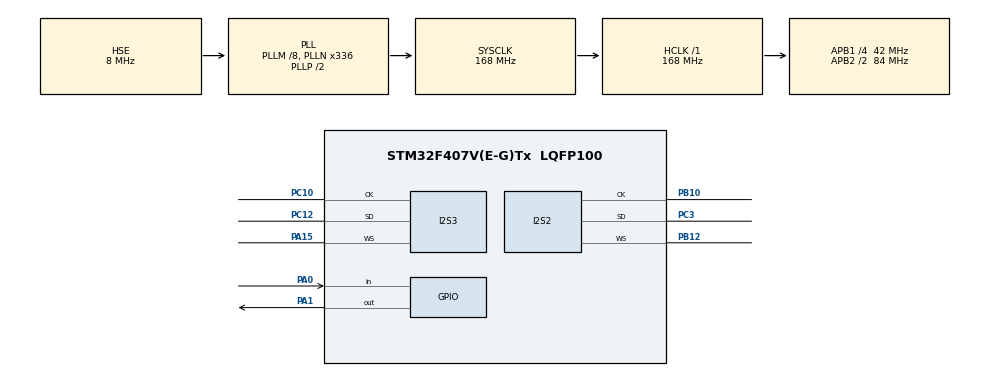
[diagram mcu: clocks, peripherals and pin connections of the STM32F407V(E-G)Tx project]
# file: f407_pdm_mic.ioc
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Dma.Request0=SPI3_TX
Dma.Request1=SPI2_RX
Dma.SPI2_RX.1.Direction=DMA_PERIPH_TO_MEMORY
Dma.SPI2_RX.1.FIFOMode=DMA_FIFOMODE_DISABLE
Dma.SPI2_RX.1.Instance=DMA1_Stream3
Dma.SPI2_RX.1.MemDataAlignment=DMA_MDATAALIGN_HALFWORD
Dma.SPI2_RX.1.MemInc=DMA_MINC_ENABLE
Dma.SPI2_RX.1.Mode=DMA_CIRCULAR
Dma.SPI2_RX.1.PeriphDataAlignment=DMA_PDATAALIGN_HALFWORD
Dma.SPI2_RX.1.PeriphInc=DMA_PINC_DISABLE
Dma.SPI2_RX.1.Priority=DMA_PRIORITY_LOW
Dma.SPI3_TX.0.Direction=DMA_MEMORY_TO_PERIPH
Dma.SPI3_TX.0.FIFOMode=DMA_FIFOMODE_DISABLE
Dma.SPI3_TX.0.Instance=DMA1_Stream5
Dma.SPI3_TX.0.MemDataAlignment=DMA_MDATAALIGN_HALFWORD
Dma.SPI3_TX.0.MemInc=DMA_MINC_ENABLE
Dma.SPI3_TX.0.Mode=DMA_CIRCULAR
Dma.SPI3_TX.0.PeriphDataAlignment=DMA_PDATAALIGN_HALFWORD
Dma.SPI3_TX.0.PeriphInc=DMA_PINC_DISABLE
Dma.SPI3_TX.0.Priority=DMA_PRIORITY_LOW
I2S2.AudioFreq=I2S_AUDIOFREQ_48K
I2S2.DataFormat=I2S_DATAFORMAT_24B
I2S2.ErrorAudioFreq=0.8 %
I2S2.FullDuplexMode=I2S_FULLDUPLEXMODE_DISABLE
I2S2.Instance=SPI$Index
I2S2.Mode=I2S_MODE_SLAVE_RX
I2S2.RealAudioFreq=48.387 KHz
I2S2.Standard=I2S_STANDARD_PHILIPS
I2S2.VirtualMode=I2S_MODE_SLAVE
I2S3.AudioFreq=I2S_AUDIOFREQ_48K
I2S3.DataFormat=I2S_DATAFORMAT_24B
I2S3.ErrorAudioFreq=0.8 %
I2S3.FullDuplexMode=I2S_FULLDUPLEXMODE_DISABLE
I2S3.Instance=SPI$Index
I2S3.RealAudioFreq=48.387 KHz
I2S3.VirtualMode=I2S_MODE_MASTER
Mcu.Family=STM32F4
Mcu.Name=STM32F407V(E-G)Tx
Mcu.Package=LQFP100
NVIC.DMA1_Stream3_IRQn=true\:0\:0\:false\:false\:true\:false\:true
NVIC.DMA1_Stream5_IRQn=true\:0\:0\:false\:false\:true\:false\:true
NVIC.PriorityGroup=NVIC_PRIORITYGROUP_4
PA0-WKUP.GPIO_PuPd=GPIO_PULLDOWN
PA0-WKUP.Signal=GPIO_Input
PA1.PinState=GPIO_PIN_SET
PA1.Signal=GPIO_Output
PA13.Mode=Serial_Wire
PA13.Signal=SYS_JTMS-SWDIO
PA14.Mode=Serial_Wire
PA14.Signal=SYS_JTCK-SWCLK
PA15.Mode=Half_Duplex_Master
PA15.Signal=I2S3_WS
PB10.Mode=Half_Duplex_Slave
PB10.Signal=I2S2_CK
PB12.Mode=Half_Duplex_Slave
PB12.Signal=I2S2_WS
PC10.Mode=Half_Duplex_Master
PC10.Signal=I2S3_CK
PC12.Mode=Half_Duplex_Master
PC12.Signal=I2S3_SD
PC3.Mode=Half_Duplex_Slave
PC3.Signal=I2S2_SD
PDM2PCM.CHANNEL1_bit_order=PDM_FILTER_BIT_ORDER_MSB
PDM2PCM.CHANNEL1_in_ptr_channels=1
PDM2PCM.CHANNEL1_out_ptr_channels=1
PDM2PCM.CHANNEL1_output_samples_number=48
PDM2PCM.CHANNEL2_bit_order=PDM_FILTER_BIT_ORDER_MSB
PDM2PCM.CHANNEL2_in_ptr_channels=2
PDM2PCM.CHANNEL2_out_ptr_channels=2
PH0-OSC_IN.Mode=HSE-External-Oscillator
PH0-OSC_IN.Signal=RCC_OSC_IN
PH1-OSC_OUT.Mode=HSE-External-Oscillator
PH1-OSC_OUT.Signal=RCC_OSC_OUT
ProjectManager.HeapSize=0x200
ProjectManager.StackSize=0x400
ProjectManager.TargetToolchain=STM32CubeIDE
RCC.48MHZClocksFreq_Value=84000000
RCC.AHBFreq_Value=168000000
RCC.APB1CLKDivider=RCC_HCLK_DIV4
RCC.APB1Freq_Value=42000000
RCC.APB1TimFreq_Value=84000000
RCC.APB2CLKDivider=RCC_HCLK_DIV2
RCC.APB2Freq_Value=84000000
RCC.APB2TimFreq_Value=168000000
RCC.CortexFreq_Value=168000000
RCC.HCLKFreq_Value=168000000
RCC.HSE_VALUE=8000000
RCC.HSI_VALUE=16000000
RCC.LSE_VALUE=32768
RCC.PLLM=8
RCC.PLLN=336
RCC.PLLSourceVirtual=RCC_PLLSOURCE_HSE
RCC.SYSCLKFreq_VALUE=168000000
RCC.SYSCLKSource=RCC_SYSCLKSOURCE_PLLCLK
RCC.VCOOutputFreq_Value=336000000
VP_CRC_VS_CRC.Mode=CRC_Activate
VP_PDM2PCM_VS_PDM2PCM.Mode=PDM2PCM_Channel
board=custom

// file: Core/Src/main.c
/* USER CODE BEGIN Header */
// DevEBox STM32F407VGT6 dev board
// Demonstrates reception of PDM data from a MP45DT02 PDM microphone via I2S2,
// conversion to PCM data and transmission over I2S3 to an I2S class D amplifier and speaker
// I2S2 is configured as timing slave to I2S3 ( BCK and WS taken from I2S3 )
// I2S3 configured as master transmit 24bit in 32bit frame, Fs = 48khz.
// PDM clock frequency = BCK = 64*48 = 3.072MHz
// Incoming DMA stream PDM data is converted to PCM using the
// PDM2PCM library. The PCM data is transmitted using DMA to I2S3 to a MAX98357A I2S
// power amplifier and speaker. A FIFO is used between the filter PCM output and
// the transmit as I2S2 and I2S3 are enabled at different times.
/* USER CODE END Header */

#include "main.h"
#include "pdm2pcm.h"

CRC_HandleTypeDef hcrc;

I2S_HandleTypeDef hi2s2;
I2S_HandleTypeDef hi2s3;
DMA_HandleTypeDef hdma_spi2_rx;
DMA_HandleTypeDef hdma_spi3_tx;

void SystemClock_Config(void);
static void MX_GPIO_Init(void);
static void MX_DMA_Init(void);
static void MX_CRC_Init(void);
static void MX_I2S2_Init(void);
static void MX_I2S3_Init(void);

/* USER CODE BEGIN 0 */

#define OUT_FS_KHZ  		48
#define DECIMATION_FACTOR	64

#define PDM2PCM_OUT_SAMPLES 		OUT_FS_KHZ
#define PDM2PCM_IN_SAMPLES_BYTES	(OUT_FS_KHZ*DECIMATION_FACTOR/8)
#define PDM2PCM_IN_SAMPLES_HWORDS   (PDM2PCM_IN_SAMPLES_BYTES/2)

#define RXBUF_NSAMPLES (PDM2PCM_IN_SAMPLES_HWORDS * 2)
#define TXBUF_NSAMPLES (PDM2PCM_OUT_SAMPLES*4*2)

uint16_t PDMRxBuf[RXBUF_NSAMPLES] = {0};
// PDM2PCM library generates PDM2PCM_OUT_SAMPLES for each call
uint16_t PCMBuf[PDM2PCM_OUT_SAMPLES];
uint16_t I2STxBuf[TXBUF_NSAMPLES] = {0};

// dma completion state
enum DmaState {DMA_IN_PROGRESS, DMA_HALF_COMPLETE, DMA_COMPLETE};
enum DmaState RxState = DMA_IN_PROGRESS;
enum DmaState TxState = DMA_IN_PROGRESS;

// 256 entry FIFO and uint8_t  pointers to allow automatic rollover to 0
uint16_t FIFOBuf[256];
uint8_t FIFOwPtr = 0;
uint8_t FIFOrPtr = 0;

// flag to start reading out from the FIFO when enough data is buffered
int FIFOReadEnabled = 0;

void FifoWrite(uint16_t data) {
	FIFOBuf[FIFOwPtr] = data;
	FIFOwPtr++;
	}

uint16_t FifoRead() {
	uint16_t val = FIFOBuf[FIFOrPtr];
	FIFOrPtr++;
	return val;
	}

/* USER CODE END 0 */

int main(void)
{

  /* MCU Configuration--------------------------------------------------------*/

  /* Reset of all peripherals, Initializes the Flash interface and the Systick. */
  HAL_Init();

  /* Configure the system clock */
  SystemClock_Config();

  /* Initialize all configured peripherals */
  MX_GPIO_Init();
  MX_DMA_Init();
  MX_CRC_Init();
  MX_I2S2_Init();
  MX_I2S3_Init();
  MX_PDM2PCM_Init();
  /* USER CODE BEGIN 2 */

  // The I2S peripherals internally transfer data in 16bit chunks, so the rx and tx buffers need
  // to be half-word buffers.
  // we've configured I2S2 for 24bit data in 32bit frame, HAL API requires us to request the
  // number of words, and transfers twice that number of half-words
  HAL_I2S_Transmit_DMA(&hi2s3, I2STxBuf, TXBUF_NSAMPLES/2);

  // I2S2 is a timing slave (BCK and WS from IS3) so needs to start up after I2S3
  HAL_I2S_Receive_DMA(&hi2s2, PDMRxBuf, RXBUF_NSAMPLES/2);

  /* USER CODE END 2 */

  /* Infinite loop */
  while (1)
  {

    /* USER CODE BEGIN 3 */
	    if (RxState == DMA_HALF_COMPLETE) {
	    	PDM_Filter(PDMRxBuf, PCMBuf, &PDM1_filter_handler);
	    	for (int i = 0; i < PDM2PCM_OUT_SAMPLES; i++) {
	    		FifoWrite(PCMBuf[i]);
	    		}
	    	// enough of a buffer to start output streaming
	    	if ((FIFOwPtr - FIFOrPtr) > 128) {
	    		FIFOReadEnabled = 1;
	    		}
	    	RxState = DMA_IN_PROGRESS;
	    	}

	    if (RxState == DMA_COMPLETE) {
	    	PDM_Filter(&PDMRxBuf[RXBUF_NSAMPLES/2], PCMBuf, &PDM1_filter_handler);
	    	for (int i = 0; i < PDM2PCM_OUT_SAMPLES; i++) {
	    		FifoWrite(PCMBuf[i]);
	    		}
	    	RxState = DMA_IN_PROGRESS;
	    	}

	    if (TxState == DMA_HALF_COMPLETE) {
	    	if (FIFOReadEnabled == 1) {
				for (int i = 0; i < PDM2PCM_OUT_SAMPLES; i++) {
					uint16_t data = FifoRead();
					I2STxBuf[4*i] = data; // L channel  (24 bits in 32bit frame, lower 8bits set to 0)
					I2STxBuf[4*i + 2] = data; //  set R channel to L channel
					}
	    		}
	    	TxState = DMA_IN_PROGRESS;
	    	}

	    if (TxState == DMA_COMPLETE) {
	    	if (FIFOReadEnabled == 1) {
	    		uint16_t* pBuf = &I2STxBuf[TXBUF_NSAMPLES/2];
				for (int i = 0; i < PDM2PCM_OUT_SAMPLES; i++) {
					uint16_t data = FifoRead();
					pBuf[4*i] = data; // L channel  (24 bits in 32bit frame, lower 8bits set to 0)
					pBuf[4*i + 2] = data; //  set R channel to L channel
				 	}
				}
	    	TxState = DMA_IN_PROGRESS;
	    	}
  	  }

  /* USER CODE END 3 */
}

void SystemClock_Config(void)
{
  RCC_OscInitTypeDef RCC_OscInitStruct = {0};
  RCC_ClkInitTypeDef RCC_ClkInitStruct = {0};
  RCC_PeriphCLKInitTypeDef PeriphClkInitStruct = {0};

  /** Configure the main internal regulator output voltage
  */
  __HAL_RCC_PWR_CLK_ENABLE();
  __HAL_PWR_VOLTAGESCALING_CONFIG(PWR_REGULATOR_VOLTAGE_SCALE1);
  /** Initializes the CPU, AHB and APB busses clocks
  */
  RCC_OscInitStruct.OscillatorType = RCC_OSCILLATORTYPE_HSE;
  RCC_OscInitStruct.HSEState = RCC_HSE_ON;
  RCC_OscInitStruct.PLL.PLLState = RCC_PLL_ON;
  RCC_OscInitStruct.PLL.PLLSource = RCC_PLLSOURCE_HSE;
  RCC_OscInitStruct.PLL.PLLM = 8;
  RCC_OscInitStruct.PLL.PLLN = 336;
  RCC_OscInitStruct.PLL.PLLP = RCC_PLLP_DIV2;
  RCC_OscInitStruct.PLL.PLLQ = 4;
  if (HAL_RCC_OscConfig(&RCC_OscInitStruct) != HAL_OK)
  {
    Error_Handler();
  }
  /** Initializes the CPU, AHB and APB busses clocks
  */
  RCC_ClkInitStruct.ClockType = RCC_CLOCKTYPE_HCLK|RCC_CLOCKTYPE_SYSCLK
                              |RCC_CLOCKTYPE_PCLK1|RCC_CLOCKTYPE_PCLK2;
  RCC_ClkInitStruct.SYSCLKSource = RCC_SYSCLKSOURCE_PLLCLK;
  RCC_ClkInitStruct.AHBCLKDivider = RCC_SYSCLK_DIV1;
  RCC_ClkInitStruct.APB1CLKDivider = RCC_HCLK_DIV4;
  RCC_ClkInitStruct.APB2CLKDivider = RCC_HCLK_DIV2;

  if (HAL_RCC_ClockConfig(&RCC_ClkInitStruct, FLASH_LATENCY_5) != HAL_OK)
  {
    Error_Handler();
  }
  PeriphClkInitStruct.PeriphClockSelection = RCC_PERIPHCLK_I2S;
  PeriphClkInitStruct.PLLI2S.PLLI2SN = 192;
  PeriphClkInitStruct.PLLI2S.PLLI2SR = 2;
  if (HAL_RCCEx_PeriphCLKConfig(&PeriphClkInitStruct) != HAL_OK)
  {
    Error_Handler();
  }
}

static void MX_CRC_Init(void)
{

  hcrc.Instance = CRC;
  if (HAL_CRC_Init(&hcrc) != HAL_OK)
  {
    Error_Handler();
  }
  __HAL_CRC_DR_RESET(&hcrc);

}

static void MX_I2S2_Init(void)
{

  hi2s2.Instance = SPI2;
  hi2s2.Init.Mode = I2S_MODE_SLAVE_RX;
  hi2s2.Init.Standard = I2S_STANDARD_PHILIPS;
  hi2s2.Init.DataFormat = I2S_DATAFORMAT_24B;
  hi2s2.Init.MCLKOutput = I2S_MCLKOUTPUT_DISABLE;
  hi2s2.Init.AudioFreq = I2S_AUDIOFREQ_48K;
  hi2s2.Init.CPOL = I2S_CPOL_LOW;
  hi2s2.Init.ClockSource = I2S_CLOCK_PLL;
  hi2s2.Init.FullDuplexMode = I2S_FULLDUPLEXMODE_DISABLE;
  if (HAL_I2S_Init(&hi2s2) != HAL_OK)
  {
    Error_Handler();
  }

}

static void MX_I2S3_Init(void)
{

  hi2s3.Instance = SPI3;
  hi2s3.Init.Mode = I2S_MODE_MASTER_TX;
  hi2s3.Init.Standard = I2S_STANDARD_PHILIPS;
  hi2s3.Init.DataFormat = I2S_DATAFORMAT_24B;
  hi2s3.Init.MCLKOutput = I2S_MCLKOUTPUT_DISABLE;
  hi2s3.Init.AudioFreq = I2S_AUDIOFREQ_48K;
  hi2s3.Init.CPOL = I2S_CPOL_LOW;
  hi2s3.Init.ClockSource = I2S_CLOCK_PLL;
  hi2s3.Init.FullDuplexMode = I2S_FULLDUPLEXMODE_DISABLE;
  if (HAL_I2S_Init(&hi2s3) != HAL_OK)
  {
    Error_Handler();
  }

}

static void MX_DMA_Init(void)
{

  /* DMA controller clock enable */
  __HAL_RCC_DMA1_CLK_ENABLE();

  /* DMA interrupt init */
  /* DMA1_Stream3_IRQn interrupt configuration */
  HAL_NVIC_SetPriority(DMA1_Stream3_IRQn, 0, 0);
  HAL_NVIC_EnableIRQ(DMA1_Stream3_IRQn);
  /* DMA1_Stream5_IRQn interrupt configuration */
  HAL_NVIC_SetPriority(DMA1_Stream5_IRQn, 0, 0);
  HAL_NVIC_EnableIRQ(DMA1_Stream5_IRQn);

}

static void MX_GPIO_Init(void)
{
  GPIO_InitTypeDef GPIO_InitStruct = {0};

  /* GPIO Ports Clock Enable */
  __HAL_RCC_GPIOH_CLK_ENABLE();
  __HAL_RCC_GPIOC_CLK_ENABLE();
  __HAL_RCC_GPIOA_CLK_ENABLE();
  __HAL_RCC_GPIOB_CLK_ENABLE();

  /*Configure GPIO pin Output Level */
  HAL_GPIO_WritePin(GPIOA, GPIO_PIN_1, GPIO_PIN_SET);

  /*Configure GPIO pin : PA0 */
  GPIO_InitStruct.Pin = GPIO_PIN_0;
  GPIO_InitStruct.Mode = GPIO_MODE_INPUT;
  GPIO_InitStruct.Pull = GPIO_PULLDOWN;
  HAL_GPIO_Init(GPIOA, &GPIO_InitStruct);

  /*Configure GPIO pin : PA1 */
  GPIO_InitStruct.Pin = GPIO_PIN_1;
  GPIO_InitStruct.Mode = GPIO_MODE_OUTPUT_PP;
  GPIO_InitStruct.Pull = GPIO_NOPULL;
  GPIO_InitStruct.Speed = GPIO_SPEED_FREQ_LOW;
  HAL_GPIO_Init(GPIOA, &GPIO_InitStruct);

}

/* USER CODE BEGIN 4 */
void HAL_I2S_TxHalfCpltCallback (I2S_HandleTypeDef *hi2s) {
	TxState = DMA_HALF_COMPLETE;
}

void HAL_I2S_TxCpltCallback (I2S_HandleTypeDef *hi2s) {
	TxState = DMA_COMPLETE;
}

void HAL_I2S_RxHalfCpltCallback (I2S_HandleTypeDef *hi2s) {
	RxState = DMA_HALF_COMPLETE;
}

void HAL_I2S_RxCpltCallback (I2S_HandleTypeDef *hi2s) {
	RxState = DMA_COMPLETE;
}

/* USER CODE END 4 */

void Error_Handler(void)
{
  /* USER CODE BEGIN Error_Handler_Debug */
  /* User can add his own implementation to report the HAL error return state */
	int counter = 0;
	while (1) {
		HAL_GPIO_TogglePin(GPIOA, GPIO_PIN_1);
		while (counter < 0x3FFFF) {counter++;}
		counter = 0;
		}
  /* USER CODE END Error_Handler_Debug */
}

/************************ (C) COPYRIGHT STMicroelectronics *****END OF FILE****/
